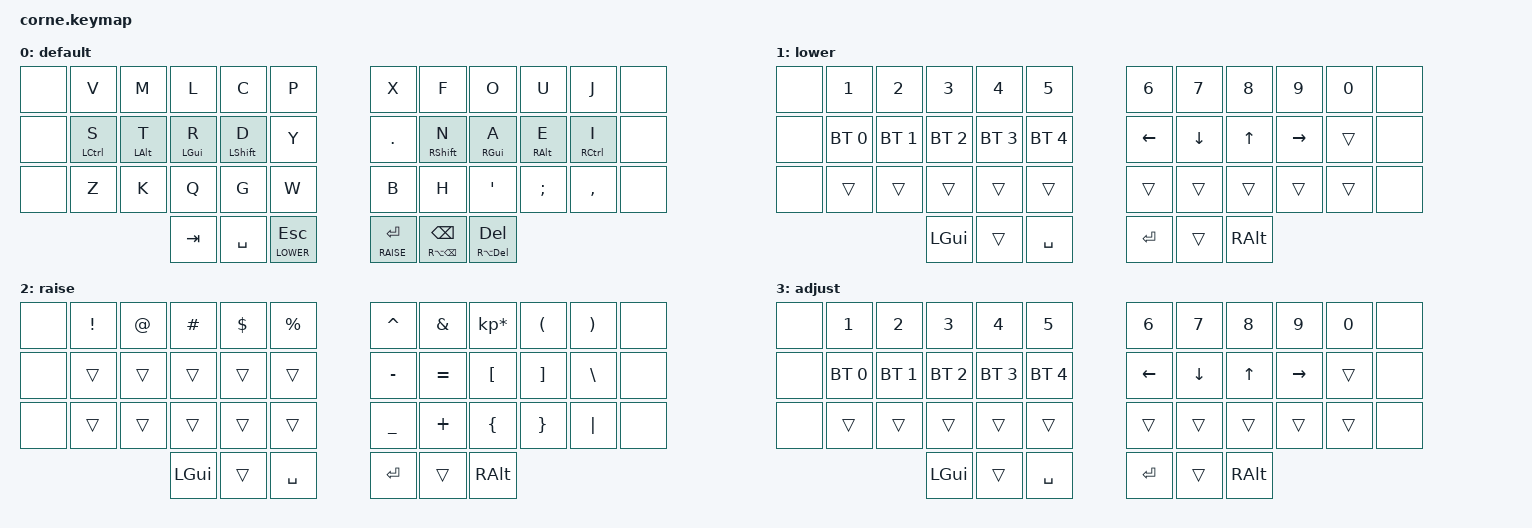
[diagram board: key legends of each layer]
/*
 * Copyright (c) 2020 The ZMK Contributors
 *
 * SPDX-License-Identifier: MIT
 */

#include <behaviors.dtsi>
#include <dt-bindings/zmk/keys.h>
#include <dt-bindings/zmk/bt.h>

// Layers
#define DEFAULT 0
#define LOWER   1
#define RAISE   2
#define ADJUST  3

/ {
        conditional_layers {
                compatible = "zmk,conditional-layers";

                adjust {
                        if-layers = <LOWER RAISE>;
                        then-layer = <ADJUST>;
                };
         };

        behaviors {
                hml: homerow_mods_left {
                        compatible = "zmk,behavior-hold-tap";
                        label = "HOMEROW_MODS_LEFT";
                        #binding-cells = <2>;
                        bindings = <&kp>, <&kp>;
                        flavor = "balanced";
                        tapping-term-ms = <250>;
                        quick-tap-ms = <150>;
                        global-quick-tap;
                        hold-trigger-key-positions = <6 7 8 9 10 11 18 19 20 21 22 23 30 31 32 33 34 35 36 37 38 39 40 41>;
                };

                hmr: homerow_mods_right {
                        compatible = "zmk,behavior-hold-tap";
                        label = "HOMEROW_MODS_RIGHT";
                        #binding-cells = <2>;
                        bindings = <&kp>, <&kp>;
                        flavor = "balanced";
                        tapping-term-ms = <250>;
                        quick-tap-ms = <150>;
                        global-quick-tap;
                        hold-trigger-key-positions = <0 1 2 3 4 5 12 13 14 15 16 17 24 25 26 27 28 29 36 37 38 39 40 41>;
                };

                http: hold_tap_tap_preferred {
                        compatible = "zmk,behavior-hold-tap";
                        label = "HOLD_TAP_TAP_PREFERRED";
                        #binding-cells = <2>;
                        bindings = <&kp>, <&kp>;
                        flavor = "tap-preferred";
                        tapping-term-ms = <200>;
                        quick-tap-ms = <125>;
                };

                // ht: hold_tap {
                //         compatible = "zmk,behavior-hold-tap";
                //         label = "HOLD_TAP";
                //         #binding-cells = <2>;
                //         bindings = <&kp>, <&kp>;
                //         flavor = "tap-preferred";
                //         tapping-term-ms = <200>;
                //         quick-tap-ms = <125>;
                //         global-quick-tap;
                // };

                // sk_shft_td: sticky_shift_tap_dance {
                //         compatible = "zmk,behavior-tap-dance";
                //         label = "SHIFT_SHIFT_TAP_DANCE";
                //         #binding-cells = <0>;
                //         tapping-term-ms = <200>;
                //         bindings = <&sk LSHFT>, <&kp CAPS>;
                // };
        };

        keymap {
                compatible = "zmk,keymap";

                default {
                        bindings = <
                &none &kp     V    &kp    M    &kp    L    &kp     C    &kp     P               &kp      X     &kp         F       &kp        O      &kp    U    &kp     J    &none
                &none &hml LCTRL S &hml LALT T &hml LGUI R &hml LSHFT D &kp     Y               &kp     DOT    &hmr     RSHFT N    &hmr     RGUI A   &hmr RALT E &hmr RCTRL I &none
                &none &kp     Z    &kp    K    &kp    Q    &kp     G    &kp     W               &kp      B     &kp         H       &kp       SQT     &kp   SEMI  &kp   COMMA  &none
                                               &kp   TAB   &kp   SPACE  &lt LOWER ESC           &lt RAISE RET &http RA(BSPC) BSPC &http RA(DEL) DEL
                        >;
                };

                lower {
                        bindings = <
   &none &kp N1       &kp N2       &kp N3       &kp N4       &kp N5         &kp N6   &kp N7   &kp N8 &kp N9    &kp N0 &none
   &none &bt BT_SEL 0 &bt BT_SEL 1 &bt BT_SEL 2 &bt BT_SEL 3 &bt BT_SEL 4   &kp LEFT &kp DOWN &kp UP &kp RIGHT &trans &none
   &none &trans       &trans       &trans       &trans       &trans         &trans   &trans   &trans &trans    &trans &none
                                   &kp LGUI     &trans       &kp SPACE      &kp RET  &trans   &kp RALT
                        >;
                };

                raise {
                        bindings = <
   &none &kp EXCL &kp AT &kp HASH &kp DLLR &kp PRCNT   &kp CARET &kp AMPS  &kp KP_MULTIPLY &kp LPAR &kp RPAR &none
   &none &trans   &trans &trans   &trans   &trans      &kp MINUS &kp EQUAL &kp LBKT        &kp RBKT &kp BSLH &none
   &none &trans   &trans &trans   &trans   &trans      &kp UNDER &kp PLUS  &kp LBRC        &kp RBRC &kp PIPE &none
                         &kp LGUI &trans   &kp SPACE   &kp RET   &trans    &kp RALT
                        >;
                };

                adjust {
                        bindings = <
   &none &kp N1       &kp N2       &kp N3       &kp N4       &kp N5         &kp N6   &kp N7   &kp N8 &kp N9    &kp N0 &none
   &none &bt BT_SEL 0 &bt BT_SEL 1 &bt BT_SEL 2 &bt BT_SEL 3 &bt BT_SEL 4   &kp LEFT &kp DOWN &kp UP &kp RIGHT &trans &none
   &none &trans       &trans       &trans       &trans       &trans         &trans   &trans   &trans &trans    &trans &none
                                   &kp LGUI     &trans       &kp SPACE      &kp RET  &trans   &kp RALT
                        >;
                };
        };
};
